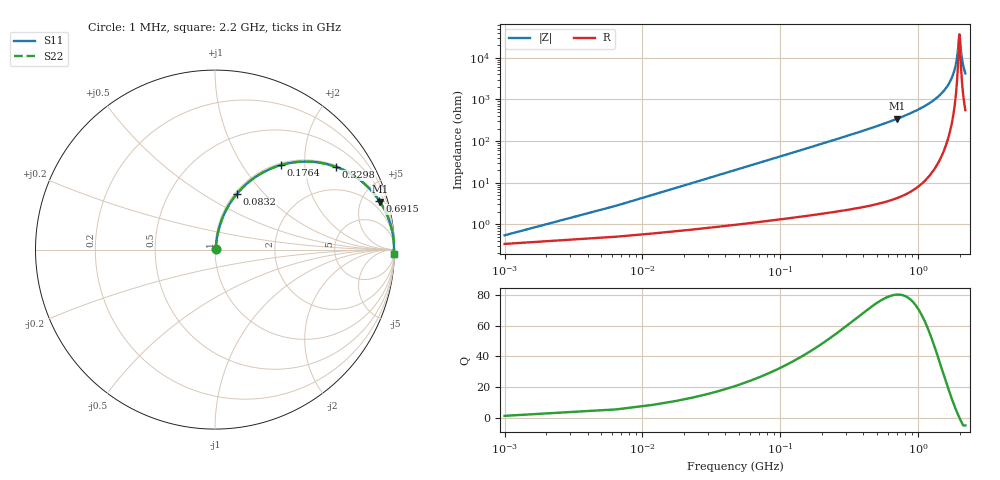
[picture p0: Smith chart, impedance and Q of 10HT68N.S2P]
! Coilcraft 1008HT-68N Chip Inductor
! 16 July 2002
# MHZ S MA R 50
!Freq  MagS11  AngS11  MagS21  AngS21  MagS12  AngS12  MagS22  AngS22
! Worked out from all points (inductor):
!   403 points, 1 MHz to 2.2 GHz, reference 50 ohm
!   read as one part in series: L = 68 nH near 11.96 MHz
!   highest Q = 80.3 at 702.4 MHz (marker M1), where L = 77.7 nH
!   self-resonance near 1.99 GHz
!   S11 on the Smith chart (normalised r, x): 1 MHz: 1.01, +0.01; 83.2 MHz: 1.02, +0.71; 176.4 MHz: 1.03, +1.52; 329.8 MHz: 1.05, +2.90; 691.5 MHz: 1.08, +6.72; 2.2 GHz: 12, -84
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1  0.005429 51.4  0.9966 -0.2  0.9966 -0.2  0.005429 51.4
17.44  0.07412 80.5  0.9905 -4.2  0.9905 -4.2  0.07412 80.5
28.4  0.1198 79.3  0.9849 -6.9  0.9849 -6.9  0.1198 79.3
50.32  0.2086 75.3  0.9684 -12.0  0.9684 -12.0  0.2086 75.3
83.2  0.3321 68.7  0.932 -19.4  0.932 -19.4  0.3321 68.7
176.36  0.5985 52.0  0.7879 -36.8  0.7879 -36.8  0.5985 52.0
329.8  0.817 34.3  0.5638 -54.8  0.5638 -54.8  0.817 34.3
368.16  0.8465 31.3  0.5197 -57.8  0.5197 -57.8  0.8465 31.3
691.48  0.9552 16.5  0.2843 -72.8  0.2843 -72.8  0.9552 16.5
702.44  0.9568 16.2  0.2791 -73.1  0.2791 -73.1  0.9568 16.2
735.32  0.9612 15.3  0.2642 -74.0  0.2642 -74.0  0.9612 15.3
1102.48  0.9871 8.4  0.1453 -80.8  0.1453 -80.8  0.9871 8.4
1469.64  0.9952 4.1  0.07215 -84.1  0.07215 -84.1  0.9952 4.1
1688.84  0.9969 2.2  0.03881 -84.3  0.03881 -84.3  0.9969 2.2
1836.8  0.9973 1.1  0.01908 -81.4  0.01908 -81.4  0.9973 1.1
1913.52  0.9973 0.5  0.009663 -73.8  0.009663 -73.8  0.9973 0.5
1979.28  0.9973 0.1  0.003044 -26.9  0.003044 -26.9  0.9973 0.1
1990.24  0.9973 0.0  0.002732 -1.8  0.002732 -1.8  0.9973 0.0
2001.2  0.9973 -0.1  0.003 23.6  0.003 23.6  0.9973 -0.1
2045.04  0.9972 -0.4  0.006885 65.5  0.006885 65.5  0.9972 -0.4
2083.4  0.9971 -0.6  0.01102 74.2  0.01102 74.2  0.9971 -0.6
2200  0.9966 -1.3  0.02363 81.1  0.02363 81.1  0.9966 -1.3
